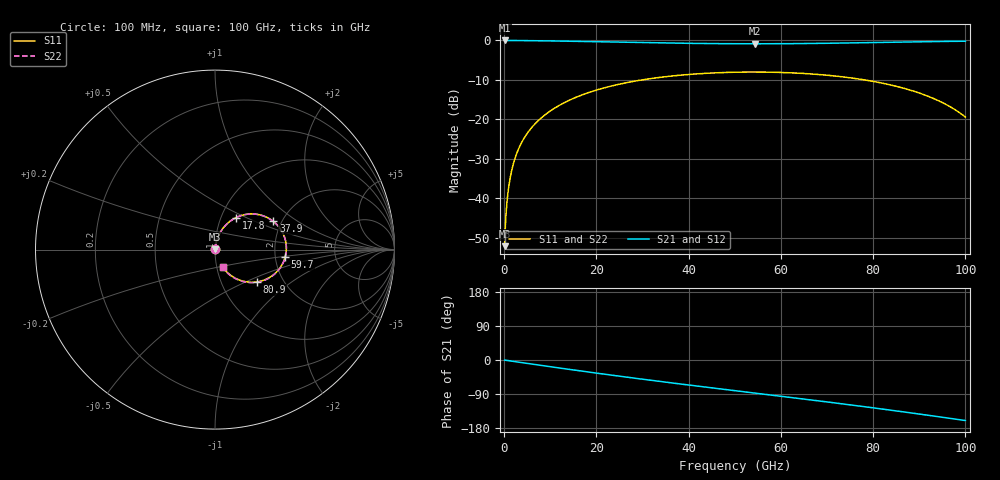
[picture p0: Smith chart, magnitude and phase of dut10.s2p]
! Touchstone file exported from HFSS 2026.1.0
!  File:  C:/ffzhzh/LocalFiles/Ansys_Project_Files/temp_train_RDL_10_1783497669_41296.aedt
!  Generated:  04:02:25 PM Jul  8, 2026
!  Design:  RDL
!  Project:  temp_train_RDL_10_1783497669_41296
! Variables:
!  h_bsmrdl = 2um
!  h_ox = 20um
!  h_rdl = 5um
!  h_sub = 80um
!  h_tmrdl = 3.97um
!  h_tsv = 80um
!  h_via = 3um
!  l_bsmrdl = 300um
!  l_sub = 937.63um
!  l_tmrdl = 537.63um
!  m_sub = 200um
!  pitch = 48.08um
!  r_tsv = 6um
!  s_tmrdl = 10um
!  w_bsmrdl = 18um
!  w_sub = 500um
!  w_tmrdl = 29.51um
!  x_tsv_center1 = 552.385um
!  x_tsv_center2 = 870.385um
!  x_tsv_center3 = 1437.525um
!  x_tsv_center4 = 1755.525um
!  x_tsv_center5 = 2322.665um
!  x_tsv_center6 = 2640.665um
# GHz S MA R 50.000000
! Terminal data exported
! Port[1] = TM_RDL1_1_T1
! Port[2] = TM_RDL1_1_T2
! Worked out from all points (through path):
!   1000 points, 100 MHz to 100 GHz, reference 50 ohm
!   highest |S21| = -0.02 dB at 100 MHz (marker M1); lowest = -0.9 dB at 54.4 GHz (marker M2)
!   group delay of S21, straight-line fit = 4.32 ps
!   lowest |S11| = -52.1 dB at 100 MHz (marker M3), VSWR 1.00, Z = 50.2 + j0.162 ohm
!   |S11| at or under -10 dB: start of sweep to 29.92 GHz; 78.11 GHz to end of sweep
!   |S22| runs from -52.1 to -8.0 dB; largest |S21 - S12| = 1.7e-14
!   S11 on the Smith chart (normalised r, x): 100 MHz: 1.00, +0.00; 17.8 GHz: 1.18, +0.44; 37.9 GHz: 1.81, +0.66; 59.7 GHz: 2.27, -0.21; 80.9 GHz: 1.48, -0.58; 100 GHz: 1.07, -0.21
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0.1  0.002483 40.5  0.9981 -0.2  0.9981 -0.2  0.002483 40.5
! Gamma 0 0 0 0
! Port Impedance 50 0 50 0
0.9  0.01274 76.6  0.9973 -1.6  0.9973 -1.6  0.01274 76.6
1.5  0.02071 79.6  0.997 -2.7  0.997 -2.7  0.02071 79.6
2  0.02737 80.2  0.9967 -3.6  0.9967 -3.6  0.02737 80.1
2.6  0.03535 80.1  0.9961 -4.7  0.9961 -4.7  0.03535 80.0
4.1  0.05499 78.4  0.9945 -7.4  0.9945 -7.4  0.05499 78.4
6.2  0.08168 75.3  0.9915 -11.1  0.9915 -11.1  0.08168 75.3
9  0.1159 70.9  0.9868 -16.0  0.9868 -16.0  0.1159 70.8
12.5  0.1566 65.2  0.9799 -22.0  0.9799 -22.0  0.1566 65.2
16.8  0.2031 58.3  0.9704 -29.3  0.9704 -29.3  0.2032 58.2
17.8  0.2133 56.7  0.968 -30.9  0.968 -30.9  0.2134 56.6
24.9  0.2785 45.5  0.9504 -42.6  0.9504 -42.6  0.2785 45.4
33.4  0.3382 32.5  0.9303 -56.0  0.9303 -56.0  0.3383 32.3
37.9  0.3615 25.8  0.9214 -62.9  0.9214 -62.9  0.3615 25.5
50.1  0.3956 8.0  0.907 -81.0  0.907 -81.0  0.3957 7.6
54.4  0.3978 1.8  0.9059 -87.4  0.9059 -87.4  0.3978 1.4
59.7  0.3934 -5.8  0.9076 -95.2  0.9076 -95.2  0.3935 -6.3
66.7  0.3755 -16.0  0.9145 -105.6  0.9145 -105.6  0.3756 -16.5
80.9  0.296 -37.4  0.941 -127.6  0.941 -127.6  0.2962 -38.0
83.4  0.2761 -41.2  0.9466 -131.7  0.9466 -131.7  0.2762 -41.9
92.8  0.1869 -55.8  0.9662 -147.3  0.9662 -147.3  0.187 -56.5
100  0.107 -66.2  0.9763 -159.7  0.9763 -159.7  0.1071 -67.0
